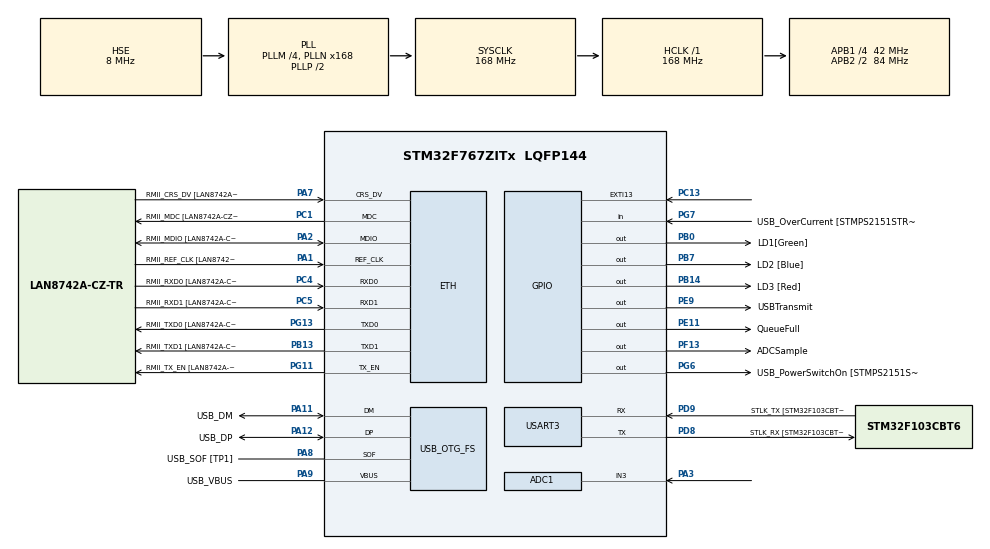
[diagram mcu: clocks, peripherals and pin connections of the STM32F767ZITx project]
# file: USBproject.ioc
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ADC1.Channel-0\#ChannelRegularConversion=ADC_CHANNEL_3
ADC1.NbrOfConversionFlag=1
ADC1.Rank-0\#ChannelRegularConversion=1
ADC1.SamplingTime-0\#ChannelRegularConversion=ADC_SAMPLETIME_3CYCLES
ADC1.master=1
ETH.MediaInterface=ETH_MEDIA_INTERFACE_RMII
ETH.PHY_Name=LAN8742A_PHY_ADDRESS
ETH.PHY_Value=0
ETH.PhyAddress=0
FREERTOS.Tasks01=defaultTask,0,128,StartDefaultTask,Default,NULL,Dynamic,NULL,NULL
Mcu.Family=STM32F7
Mcu.Name=STM32F767ZITx
Mcu.Package=LQFP144
NVIC.ADC_IRQn=true\:5\:0\:false\:false\:true\:true\:true\:true
NVIC.EXTI15_10_IRQn=true\:5\:0\:false\:false\:true\:true\:true\:true
NVIC.OTG_FS_IRQn=true\:5\:0\:false\:false\:true\:true\:false\:true
NVIC.PriorityGroup=NVIC_PRIORITYGROUP_4
NVIC.TIM1_UP_TIM10_IRQn=true\:0\:0\:false\:false\:true\:false\:false\:true
NVIC.TIM7_IRQn=true\:5\:0\:false\:false\:true\:true\:true\:true
NVIC.TimeBase=TIM1_UP_TIM10_IRQn
NVIC.TimeBaseIP=TIM1
PA1.GPIO_Label=RMII_REF_CLK [LAN8742A-CZ-TR_REFCLK0]
PA1.Mode=RMII
PA1.Signal=ETH_REF_CLK
PA10.GPIO_Label=USB_ID
PA10.Signal=USB_OTG_FS_ID
PA11.GPIO_Label=USB_DM
PA11.Mode=Device_Only
PA11.Signal=USB_OTG_FS_DM
PA12.GPIO_Label=USB_DP
PA12.Mode=Device_Only
PA12.Signal=USB_OTG_FS_DP
PA13.GPIO_Label=TMS
PA13.Mode=Serial_Wire
PA13.Signal=SYS_JTMS-SWDIO
PA14.GPIO_Label=TCK
PA14.Mode=Serial_Wire
PA14.Signal=SYS_JTCK-SWCLK
PA2.GPIO_Label=RMII_MDIO [LAN8742A-CZ-TR_MDIO]
PA2.Mode=RMII
PA2.Signal=ETH_MDIO
PA3.Signal=ADCx_IN3
PA7.GPIO_Label=RMII_CRS_DV [LAN8742A-CZ-TR_CRS_DV]
PA7.Mode=RMII
PA7.Signal=ETH_CRS_DV
PA8.GPIO_Label=USB_SOF [TP1]
PA8.Mode=Activate_SOF_FS
PA8.Signal=USB_OTG_FS_SOF
PA9.GPIO_Label=USB_VBUS
PA9.Mode=Activate_VBUS
PA9.Signal=USB_OTG_FS_VBUS
PB0.GPIO_Label=LD1[Green]
PB0.Signal=GPIO_Output
PB13.GPIO_Label=RMII_TXD1 [LAN8742A-CZ-TR_TXD1]
PB13.Mode=RMII
PB13.Signal=ETH_TXD1
PB14.GPIO_Label=LD3 [Red]
PB14.Signal=GPIO_Output
PB3.GPIO_Label=SWO
PB3.Signal=SYS_JTDO-SWO
PB7.GPIO_Label=LD2 [Blue]
PB7.Signal=GPIO_Output
PC1.GPIO_Label=RMII_MDC [LAN8742A-CZ-TR_MDC]
PC1.Mode=RMII
PC1.Signal=ETH_MDC
PC13.Signal=GPXTI13
PC14/OSC32_IN.Mode=LSE-External-Oscillator
PC14/OSC32_IN.Signal=RCC_OSC32_IN
PC15/OSC32_OUT.Mode=LSE-External-Oscillator
PC15/OSC32_OUT.Signal=RCC_OSC32_OUT
PC4.GPIO_Label=RMII_RXD0 [LAN8742A-CZ-TR_RXD0]
PC4.Mode=RMII
PC4.Signal=ETH_RXD0
PC5.GPIO_Label=RMII_RXD1 [LAN8742A-CZ-TR_RXD1]
PC5.Mode=RMII
PC5.Signal=ETH_RXD1
PD8.GPIO_Label=STLK_RX [STM32F103CBT6_PA3]
PD8.Mode=Asynchronous
PD8.Signal=USART3_TX
PD9.GPIO_Label=STLK_TX [STM32F103CBT6_PA2]
PD9.Mode=Asynchronous
PD9.Signal=USART3_RX
PE11.GPIO_Label=QueueFull
PE11.Signal=GPIO_Output
PE9.GPIO_Label=USBTransmit
PE9.Signal=GPIO_Output
PF13.GPIO_Label=ADCSample
PF13.Signal=GPIO_Output
PG11.GPIO_Label=RMII_TX_EN [LAN8742A-CZ-TR_TXEN]
PG11.Mode=RMII
PG11.Signal=ETH_TX_EN
PG13.GPIO_Label=RMII_TXD0 [LAN8742A-CZ-TR_TXD0]
PG13.Mode=RMII
PG13.Signal=ETH_TXD0
PG6.GPIO_Label=USB_PowerSwitchOn [STMPS2151STR_EN]
PG6.Signal=GPIO_Output
PG7.GPIO_Label=USB_OverCurrent [STMPS2151STR_FAULT]
PG7.Signal=GPIO_Input
PH0/OSC_IN.GPIO_Label=MCO [STM32F103CBT6_PA8]
PH0/OSC_IN.Mode=HSE-External-Clock-Source
PH0/OSC_IN.Signal=RCC_OSC_IN
PH1/OSC_OUT.Mode=HSE-External-Clock-Source
PH1/OSC_OUT.Signal=RCC_OSC_OUT
ProjectManager.HeapSize=0x200
ProjectManager.StackSize=0x400
ProjectManager.TargetToolchain=STM32CubeIDE
RCC.48MHZClocksFreq_Value=24000000
RCC.AHBFreq_Value=168000000
RCC.APB1CLKDivider=RCC_HCLK_DIV4
RCC.APB1Freq_Value=42000000
RCC.APB1TimFreq_Value=84000000
RCC.APB2CLKDivider=RCC_HCLK_DIV2
RCC.APB2Freq_Value=84000000
RCC.APB2TimFreq_Value=168000000
RCC.CortexFreq_Value=168000000
RCC.HCLKFreq_Value=168000000
RCC.HSE_VALUE=8000000
RCC.HSI_VALUE=16000000
RCC.PLLM=4
RCC.PLLMUL=RCC_PLL_MUL9
RCC.PLLN=168
RCC.PLLQ=7
RCC.PRESCALERUSB=RCC_USBCLKSOURCE_PLL_DIV1_5
RCC.SYSCLKFreq_VALUE=168000000
RCC.SYSCLKSource=RCC_SYSCLKSOURCE_PLLCLK
RCC.SYSCLKSourceVirtual=RCC_SYSCLKSOURCE_PLLCLK
RCC.USBFreq_Value=48000000
RCC.VCOOutputFreq_Value=336000000
SH.ADCx_IN3.0=ADC1_IN3,IN3
TIM7.AutoReloadPreload=TIM_AUTORELOAD_PRELOAD_ENABLE
TIM7.Period=453
USART3.VirtualMode-Asynchronous=VM_ASYNC
USB_DEVICE.CLASS_NAME_FS=CDC
USB_DEVICE.VirtualMode-CDC_FS=Cdc
USB_DEVICE.VirtualModeFS=Cdc_FS
USB_OTG_FS.VirtualMode=Device_Only
VP_FREERTOS_VS_CMSIS_V1.Mode=CMSIS_V1
VP_SYS_VS_tim1.Mode=TIM1
VP_TIM7_VS_ClockSourceINT.Mode=Enable_Timer
VP_USB_DEVICE_VS_USB_DEVICE_CDC_FS.Mode=CDC_FS
board=NUCLEO-F767ZI

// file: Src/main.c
/* USER CODE BEGIN Header */
/**
  ******************************************************************************
  * @file           : main.c
  * @brief          : Main program body
  ******************************************************************************
  * @attention
  *
  * <h2><center>&copy; Copyright (c) 2019 STMicroelectronics.
  * All rights reserved.</center></h2>
  *
  * This software component is licensed by ST under BSD 3-Clause license,
  * the "License"; You may not use this file except in compliance with the
  * License. You may obtain a copy of the License at:
  *                        opensource.org/licenses/BSD-3-Clause
  *
  ******************************************************************************
  */
/* USER CODE END Header */

#include "main.h"
#include "cmsis_os.h"
#include "usb_device.h"

/* USER CODE BEGIN Includes */
#include "FreeRTOS.h"
#include "PeriodicPrintTask.h"
#include "buttonPressTask.h"
#include "helperFuctions.h"
#include "globalVariables.h"
#include "task.h"
#include "semphr.h"
#include "queue.h"

#include "ADCtoUSB.h"
#include <stdint.h>
#include <stdlib.h>
/* USER CODE END Includes */

ADC_HandleTypeDef hadc1;

ETH_HandleTypeDef heth;

TIM_HandleTypeDef htim7;

UART_HandleTypeDef huart3;

osThreadId defaultTaskHandle;
/* USER CODE BEGIN PV */

TaskHandle_t PeriodicPrintHandler = NULL;
TaskHandle_t buttonTaskHandler = NULL;
TaskHandle_t HADCtoUSBTask = NULL;

SemaphoreHandle_t buttonBinarySemph = NULL;
QueueHandle_t HADCQueue;

extern void initialise_monitor_handles();
/* USER CODE END PV */

void SystemClock_Config(void);
static void MX_GPIO_Init(void);
static void MX_ETH_Init(void);
static void MX_USART3_UART_Init(void);
static void MX_ADC1_Init(void);
static void MX_TIM7_Init(void);
void StartDefaultTask(void const * argument);

/* USER CODE BEGIN PFP */

// TASKS

/* USER CODE END PFP */

int main(void)
{
  /* USER CODE BEGIN 1 */
	BaseType_t task2creation = pdPASS;
  /* USER CODE END 1 */

  /* MCU Configuration--------------------------------------------------------*/

  /* Reset of all peripherals, Initializes the Flash interface and the Systick. */
  HAL_Init();

  /* Configure the system clock */
  SystemClock_Config();

  /* Initialize all configured peripherals */
  MX_GPIO_Init();
  MX_ETH_Init();
  MX_USART3_UART_Init();
  MX_ADC1_Init();
  MX_TIM7_Init();
  /* USER CODE BEGIN 2 */
  MX_USB_DEVICE_Init();
  //initialise_monitor_handles();
  /* USER CODE END 2 */

  /* USER CODE BEGIN RTOS_MUTEX */
  vSemaphoreCreateBinary(buttonBinarySemph);
  //HADCQueue =  xQueueCreate( 8192, sizeof(uint16_t) );
  //if(HADCQueue == NULL) printf("Could not create queue");

  /* USER CODE END RTOS_MUTEX */

  /* Create the thread(s) */
  /* definition and creation of defaultTask */
  //osThreadDef(defaultTask, StartDefaultTask, osPriorityNormal, 0, 128);
  //defaultTaskHandle = osThreadCreate(osThread(defaultTask), NULL);

  /* USER CODE BEGIN RTOS_THREADS */
  //xTaskCreate(vPeriodicPrintTask, "Periodic", configMINIMAL_STACK_SIZE, NULL, 2,PeriodicPrintHandler);
  xTaskCreate(buttonPressTask, "Button", 1000, NULL, 5, buttonTaskHandler);
  task2creation = xTaskCreate(TransmitTask, "ADC2USB", 1000, NULL, 4, HADCtoUSBTask);

  if(task2creation == errCOULD_NOT_ALLOCATE_REQUIRED_MEMORY) printf("Could not create task 2");

  vTaskStartScheduler();
  /* USER CODE END RTOS_THREADS */

  /* Start scheduler */
  //osKernelStart();

  /* We should never get here as control is now taken by the scheduler */

  /* Infinite loop */
  while (1)
  {

  }
}

void SystemClock_Config(void)
{
  RCC_OscInitTypeDef RCC_OscInitStruct = {0};
  RCC_ClkInitTypeDef RCC_ClkInitStruct = {0};
  RCC_PeriphCLKInitTypeDef PeriphClkInitStruct = {0};

  /** Configure LSE Drive Capability
  */
  HAL_PWR_EnableBkUpAccess();
  /** Configure the main internal regulator output voltage
  */
  __HAL_RCC_PWR_CLK_ENABLE();
  __HAL_PWR_VOLTAGESCALING_CONFIG(PWR_REGULATOR_VOLTAGE_SCALE2);
  /** Initializes the CPU, AHB and APB busses clocks
  */
  RCC_OscInitStruct.OscillatorType = RCC_OSCILLATORTYPE_HSE;
  RCC_OscInitStruct.HSEState = RCC_HSE_BYPASS;
  RCC_OscInitStruct.PLL.PLLState = RCC_PLL_ON;
  RCC_OscInitStruct.PLL.PLLSource = RCC_PLLSOURCE_HSE;
  RCC_OscInitStruct.PLL.PLLM = 4;
  RCC_OscInitStruct.PLL.PLLN = 168;
  RCC_OscInitStruct.PLL.PLLP = RCC_PLLP_DIV2;
  RCC_OscInitStruct.PLL.PLLQ = 7;
  if (HAL_RCC_OscConfig(&RCC_OscInitStruct) != HAL_OK)
  {
    Error_Handler();
  }
  /** Initializes the CPU, AHB and APB busses clocks
  */
  RCC_ClkInitStruct.ClockType = RCC_CLOCKTYPE_HCLK|RCC_CLOCKTYPE_SYSCLK
                              |RCC_CLOCKTYPE_PCLK1|RCC_CLOCKTYPE_PCLK2;
  RCC_ClkInitStruct.SYSCLKSource = RCC_SYSCLKSOURCE_PLLCLK;
  RCC_ClkInitStruct.AHBCLKDivider = RCC_SYSCLK_DIV1;
  RCC_ClkInitStruct.APB1CLKDivider = RCC_HCLK_DIV4;
  RCC_ClkInitStruct.APB2CLKDivider = RCC_HCLK_DIV2;

  if (HAL_RCC_ClockConfig(&RCC_ClkInitStruct, FLASH_LATENCY_5) != HAL_OK)
  {
    Error_Handler();
  }
  PeriphClkInitStruct.PeriphClockSelection = RCC_PERIPHCLK_USART3|RCC_PERIPHCLK_CLK48;
  PeriphClkInitStruct.Usart3ClockSelection = RCC_USART3CLKSOURCE_PCLK1;
  PeriphClkInitStruct.Clk48ClockSelection = RCC_CLK48SOURCE_PLL;
  if (HAL_RCCEx_PeriphCLKConfig(&PeriphClkInitStruct) != HAL_OK)
  {
    Error_Handler();
  }
}

static void MX_ADC1_Init(void)
{

  /* USER CODE BEGIN ADC1_Init 0 */
__HAL_RCC_ADC1_CLK_ENABLE();

  /* USER CODE END ADC1_Init 0 */

  ADC_ChannelConfTypeDef sConfig = {0};

  /** Configure the global features of the ADC (Clock, Resolution, Data Alignment and number of conversion)
  */
  hadc1.Instance = ADC1;
  hadc1.Init.ClockPrescaler = ADC_CLOCK_SYNC_PCLK_DIV4;
  hadc1.Init.Resolution = ADC_RESOLUTION_12B;
  hadc1.Init.ScanConvMode = ADC_SCAN_DISABLE;
  hadc1.Init.ContinuousConvMode = DISABLE;
  hadc1.Init.DiscontinuousConvMode = DISABLE;
  hadc1.Init.ExternalTrigConvEdge = ADC_EXTERNALTRIGCONVEDGE_NONE;
  hadc1.Init.ExternalTrigConv = ADC_SOFTWARE_START;
  hadc1.Init.DataAlign = ADC_DATAALIGN_RIGHT;
  hadc1.Init.NbrOfConversion = 1;
  hadc1.Init.DMAContinuousRequests = DISABLE;
  hadc1.Init.EOCSelection = ADC_EOC_SINGLE_CONV;
  if (HAL_ADC_Init(&hadc1) != HAL_OK)
  {
    Error_Handler();
  }
  /** Configure for the selected ADC regular channel its corresponding rank in the sequencer and its sample time.
  */
  sConfig.Channel = ADC_CHANNEL_3;
  sConfig.Rank = ADC_REGULAR_RANK_1;
  sConfig.SamplingTime = ADC_SAMPLETIME_3CYCLES;
  if (HAL_ADC_ConfigChannel(&hadc1, &sConfig) != HAL_OK)
  {
    Error_Handler();
  }

}

static void MX_ETH_Init(void)
{

   uint8_t MACAddr[6] ;

  heth.Instance = ETH;
  heth.Init.AutoNegotiation = ETH_AUTONEGOTIATION_ENABLE;
  heth.Init.PhyAddress = LAN8742A_PHY_ADDRESS;
  MACAddr[0] = 0x00;
  MACAddr[1] = 0x80;
  MACAddr[2] = 0xE1;
  MACAddr[3] = 0x00;
  MACAddr[4] = 0x00;
  MACAddr[5] = 0x00;
  heth.Init.MACAddr = &MACAddr[0];
  heth.Init.RxMode = ETH_RXPOLLING_MODE;
  heth.Init.ChecksumMode = ETH_CHECKSUM_BY_HARDWARE;
  heth.Init.MediaInterface = ETH_MEDIA_INTERFACE_RMII;

  if (HAL_ETH_Init(&heth) != HAL_OK)
  {
    Error_Handler();
  }

}

static void MX_TIM7_Init(void)
{

  TIM_MasterConfigTypeDef sMasterConfig = {0};

  htim7.Instance = TIM7;
  htim7.Init.Prescaler = 0;
  htim7.Init.CounterMode = TIM_COUNTERMODE_UP;
  htim7.Init.Period = 453;
  htim7.Init.AutoReloadPreload = TIM_AUTORELOAD_PRELOAD_ENABLE;
  if (HAL_TIM_Base_Init(&htim7) != HAL_OK)
  {
    Error_Handler();
  }
  sMasterConfig.MasterOutputTrigger = TIM_TRGO_RESET;
  sMasterConfig.MasterSlaveMode = TIM_MASTERSLAVEMODE_DISABLE;
  if (HAL_TIMEx_MasterConfigSynchronization(&htim7, &sMasterConfig) != HAL_OK)
  {
    Error_Handler();
  }

}

static void MX_USART3_UART_Init(void)
{

  huart3.Instance = USART3;
  huart3.Init.BaudRate = 115200;
  huart3.Init.WordLength = UART_WORDLENGTH_8B;
  huart3.Init.StopBits = UART_STOPBITS_1;
  huart3.Init.Parity = UART_PARITY_NONE;
  huart3.Init.Mode = UART_MODE_TX_RX;
  huart3.Init.HwFlowCtl = UART_HWCONTROL_NONE;
  huart3.Init.OverSampling = UART_OVERSAMPLING_16;
  huart3.Init.OneBitSampling = UART_ONE_BIT_SAMPLE_DISABLE;
  huart3.AdvancedInit.AdvFeatureInit = UART_ADVFEATURE_NO_INIT;
  if (HAL_UART_Init(&huart3) != HAL_OK)
  {
    Error_Handler();
  }

}

static void MX_GPIO_Init(void)
{
  GPIO_InitTypeDef GPIO_InitStruct = {0};

  /* GPIO Ports Clock Enable */
  __HAL_RCC_GPIOC_CLK_ENABLE();
  __HAL_RCC_GPIOH_CLK_ENABLE();
  __HAL_RCC_GPIOA_CLK_ENABLE();
  __HAL_RCC_GPIOB_CLK_ENABLE();
  __HAL_RCC_GPIOF_CLK_ENABLE();
  __HAL_RCC_GPIOE_CLK_ENABLE();
  __HAL_RCC_GPIOD_CLK_ENABLE();
  __HAL_RCC_GPIOG_CLK_ENABLE();

  /*Configure GPIO pin Output Level */
  HAL_GPIO_WritePin(GPIOB, LD1_Pin|LD3_Pin|LD2_Pin, GPIO_PIN_RESET);

  /*Configure GPIO pin Output Level */
  HAL_GPIO_WritePin(ADCSample_GPIO_Port, ADCSample_Pin, GPIO_PIN_RESET);

  /*Configure GPIO pin Output Level */
  HAL_GPIO_WritePin(GPIOE, USBTransmit_Pin|QueueFull_Pin, GPIO_PIN_RESET);

  /*Configure GPIO pin Output Level */
  HAL_GPIO_WritePin(USB_PowerSwitchOn_GPIO_Port, USB_PowerSwitchOn_Pin, GPIO_PIN_RESET);

  /*Configure GPIO pin : PC13 */
  GPIO_InitStruct.Pin = GPIO_PIN_13;
  GPIO_InitStruct.Mode = GPIO_MODE_IT_RISING;
  GPIO_InitStruct.Pull = GPIO_NOPULL;
  HAL_GPIO_Init(GPIOC, &GPIO_InitStruct);

  /*Configure GPIO pins : LD1_Pin LD3_Pin LD2_Pin */
  GPIO_InitStruct.Pin = LD1_Pin|LD3_Pin|LD2_Pin;
  GPIO_InitStruct.Mode = GPIO_MODE_OUTPUT_PP;
  GPIO_InitStruct.Pull = GPIO_NOPULL;
  GPIO_InitStruct.Speed = GPIO_SPEED_FREQ_LOW;
  HAL_GPIO_Init(GPIOB, &GPIO_InitStruct);

  /*Configure GPIO pin : ADCSample_Pin */
  GPIO_InitStruct.Pin = ADCSample_Pin;
  GPIO_InitStruct.Mode = GPIO_MODE_OUTPUT_PP;
  GPIO_InitStruct.Pull = GPIO_NOPULL;
  GPIO_InitStruct.Speed = GPIO_SPEED_FREQ_LOW;
  HAL_GPIO_Init(ADCSample_GPIO_Port, &GPIO_InitStruct);

  /*Configure GPIO pins : USBTransmit_Pin QueueFull_Pin */
  GPIO_InitStruct.Pin = USBTransmit_Pin|QueueFull_Pin;
  GPIO_InitStruct.Mode = GPIO_MODE_OUTPUT_PP;
  GPIO_InitStruct.Pull = GPIO_NOPULL;
  GPIO_InitStruct.Speed = GPIO_SPEED_FREQ_LOW;
  HAL_GPIO_Init(GPIOE, &GPIO_InitStruct);

  /*Configure GPIO pin : USB_PowerSwitchOn_Pin */
  GPIO_InitStruct.Pin = USB_PowerSwitchOn_Pin;
  GPIO_InitStruct.Mode = GPIO_MODE_OUTPUT_PP;
  GPIO_InitStruct.Pull = GPIO_NOPULL;
  GPIO_InitStruct.Speed = GPIO_SPEED_FREQ_LOW;
  HAL_GPIO_Init(USB_PowerSwitchOn_GPIO_Port, &GPIO_InitStruct);

  /*Configure GPIO pin : USB_OverCurrent_Pin */
  GPIO_InitStruct.Pin = USB_OverCurrent_Pin;
  GPIO_InitStruct.Mode = GPIO_MODE_INPUT;
  GPIO_InitStruct.Pull = GPIO_NOPULL;
  HAL_GPIO_Init(USB_OverCurrent_GPIO_Port, &GPIO_InitStruct);

  /* EXTI interrupt init*/
  HAL_NVIC_SetPriority(EXTI15_10_IRQn, 5, 0);
  HAL_NVIC_EnableIRQ(EXTI15_10_IRQn);

}

void StartDefaultTask(void const * argument)
{

  /* init code for USB_DEVICE */
  MX_USB_DEVICE_Init();

  for(;;)
  {
    osDelay(1);
  }
}

void HAL_TIM_PeriodElapsedCallback(TIM_HandleTypeDef *htim)
{
  if (htim->Instance == TIM1) {
    HAL_IncTick();
  }
}

void Error_Handler(void)
{
}

/************************ (C) COPYRIGHT STMicroelectronics *****END OF FILE****/
